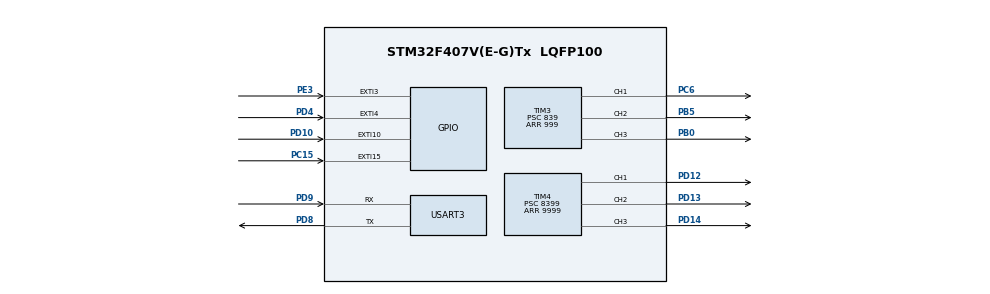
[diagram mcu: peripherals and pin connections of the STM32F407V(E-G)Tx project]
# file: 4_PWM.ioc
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Dma.Request0=USART3_RX
Dma.USART3_RX.0.Direction=DMA_PERIPH_TO_MEMORY
Dma.USART3_RX.0.FIFOMode=DMA_FIFOMODE_DISABLE
Dma.USART3_RX.0.Instance=DMA1_Stream1
Dma.USART3_RX.0.MemDataAlignment=DMA_MDATAALIGN_BYTE
Dma.USART3_RX.0.MemInc=DMA_MINC_ENABLE
Dma.USART3_RX.0.Mode=DMA_NORMAL
Dma.USART3_RX.0.PeriphDataAlignment=DMA_PDATAALIGN_BYTE
Dma.USART3_RX.0.PeriphInc=DMA_PINC_DISABLE
Dma.USART3_RX.0.Priority=DMA_PRIORITY_LOW
Mcu.Family=STM32F4
Mcu.Name=STM32F407V(E-G)Tx
Mcu.Package=LQFP100
NVIC.DMA1_Stream1_IRQn=true\:0\:0\:false\:false\:true\:false\:true\:true
NVIC.EXTI15_10_IRQn=true\:0\:0\:false\:false\:true\:true\:true\:true
NVIC.EXTI3_IRQn=true\:0\:0\:false\:false\:true\:true\:true\:true
NVIC.EXTI4_IRQn=true\:0\:0\:false\:false\:true\:true\:true\:true
NVIC.PriorityGroup=NVIC_PRIORITYGROUP_4
NVIC.TIM2_IRQn=true\:0\:0\:false\:false\:true\:true\:true\:true
NVIC.TIM3_IRQn=true\:0\:0\:false\:false\:true\:true\:true\:true
NVIC.TIM4_IRQn=true\:0\:0\:false\:false\:true\:true\:true\:true
NVIC.TIM7_IRQn=true\:0\:0\:false\:false\:true\:true\:true\:true
NVIC.USART3_IRQn=true\:0\:0\:false\:false\:true\:true\:true\:true
PB0.Signal=S_TIM3_CH3
PB5.Signal=S_TIM3_CH2
PC15-OSC32_OUT.Signal=GPXTI15
PC6.Signal=S_TIM3_CH1
PD10.Signal=GPXTI10
PD12.Signal=S_TIM4_CH1
PD13.Signal=S_TIM4_CH2
PD14.Signal=S_TIM4_CH3
PD4.Signal=GPXTI4
PD8.Mode=Asynchronous
PD8.Signal=USART3_TX
PD9.Mode=Asynchronous
PD9.Signal=USART3_RX
PE3.Signal=GPXTI3
PH0-OSC_IN.Mode=HSE-External-Oscillator
PH0-OSC_IN.Signal=RCC_OSC_IN
PH1-OSC_OUT.Mode=HSE-External-Oscillator
PH1-OSC_OUT.Signal=RCC_OSC_OUT
ProjectManager.HeapSize=0x200
ProjectManager.StackSize=0x400
ProjectManager.TargetToolchain=CMake
RCC.48MHZClocksFreq_Value=84000000
RCC.AHBFreq_Value=168000000
RCC.APB1CLKDivider=RCC_HCLK_DIV4
RCC.APB1Freq_Value=42000000
RCC.APB1TimFreq_Value=84000000
RCC.APB2CLKDivider=RCC_HCLK_DIV2
RCC.APB2Freq_Value=84000000
RCC.APB2TimFreq_Value=168000000
RCC.CortexFreq_Value=168000000
RCC.HCLKFreq_Value=168000000
RCC.HSE_VALUE=8000000
RCC.HSI_VALUE=16000000
RCC.LSE_VALUE=32768
RCC.PLLM=4
RCC.PLLN=168
RCC.PLLSourceVirtual=RCC_PLLSOURCE_HSE
RCC.SYSCLKFreq_VALUE=168000000
RCC.SYSCLKSource=RCC_SYSCLKSOURCE_PLLCLK
RCC.VCOOutputFreq_Value=336000000
SH.S_TIM3_CH1.0=TIM3_CH1,PWM Generation1 CH1
SH.S_TIM3_CH2.0=TIM3_CH2,PWM Generation2 CH2
SH.S_TIM3_CH3.0=TIM3_CH3,PWM Generation3 CH3
SH.S_TIM4_CH1.0=TIM4_CH1,Output Compare1 CH1
SH.S_TIM4_CH2.0=TIM4_CH2,Output Compare2 CH2
SH.S_TIM4_CH3.0=TIM4_CH3,Output Compare3 CH3
TIM2.Period=83999
TIM3.Channel-PWM\ Generation1\ CH1=TIM_CHANNEL_1
TIM3.Channel-PWM\ Generation2\ CH2=TIM_CHANNEL_2
TIM3.Channel-PWM\ Generation3\ CH3=TIM_CHANNEL_3
TIM3.Period=999
TIM3.Prescaler=839
TIM4.Channel-Output\ Compare1\ CH1=TIM_CHANNEL_1
TIM4.Channel-Output\ Compare2\ CH2=TIM_CHANNEL_2
TIM4.Channel-Output\ Compare3\ CH3=TIM_CHANNEL_3
TIM4.OCMode_1=TIM_OCMODE_TOGGLE
TIM4.OCMode_2=TIM_OCMODE_TOGGLE
TIM4.OCMode_3=TIM_OCMODE_TOGGLE
TIM4.Period=9999
TIM4.Prescaler=8399
TIM4.Pulse-Output\ Compare1\ CH1=9999
TIM4.Pulse-Output\ Compare2\ CH2=6666
TIM4.Pulse-Output\ Compare3\ CH3=3333
TIM7.AutoReloadPreload=TIM_AUTORELOAD_PRELOAD_DISABLE
TIM7.Period=9999
TIM7.Prescaler=839
USART3.VirtualMode=VM_ASYNC
VP_TIM2_VS_ClockSourceINT.Mode=Internal
VP_TIM3_VS_ClockSourceINT.Mode=Internal
VP_TIM4_VS_ClockSourceINT.Mode=Internal
VP_TIM7_VS_ClockSourceINT.Mode=Enable_Timer
board=custom

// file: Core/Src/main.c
/* USER CODE BEGIN Header */
/**
 ******************************************************************************
 * @file           : main.c
 * @brief          : Main program body
 ******************************************************************************
 * @attention
 *
 * Copyright (c) 2024 STMicroelectronics.
 * All rights reserved.
 *
 * This software is licensed under terms that can be found in the LICENSE file
 * in the root directory of this software component.
 * If no LICENSE file comes with this software, it is provided AS-IS.
 *
 ******************************************************************************
 */
/* USER CODE END Header */
#include "main.h"

/* USER CODE BEGIN Includes */
#include <stdio.h>
/* USER CODE END Includes */

/* USER CODE BEGIN PV */
uint8_t tim3_update = 0;
uint8_t tim4_update = 0;
/* USER CODE END PV */

void SystemClock_Config(void);
static void MX_GPIO_Init(void);
static void MX_DMA_Init(void);
static void MX_USART3_UART_Init(void);
static void MX_TIM7_Init(void);
static void MX_TIM2_Init(void);
static void MX_TIM4_Init(void);
static void MX_TIM3_Init(void);
/* USER CODE BEGIN PFP */
int __io_putchar(int ch) {
  while (!LL_USART_IsActiveFlag_TXE(USART3));
  LL_USART_TransmitData8(USART3, ch);
  return ch;
}
/* USER CODE END PFP */

int main(void) {

  /* MCU Configuration--------------------------------------------------------*/

  /* Reset of all peripherals, Initializes the Flash interface and the Systick.
   */
  LL_APB2_GRP1_EnableClock(LL_APB2_GRP1_PERIPH_SYSCFG);
  LL_APB1_GRP1_EnableClock(LL_APB1_GRP1_PERIPH_PWR);

  /* System interrupt init*/
  NVIC_SetPriorityGrouping(NVIC_PRIORITYGROUP_4);

  /* SysTick_IRQn interrupt configuration */
  NVIC_SetPriority(SysTick_IRQn,
                   NVIC_EncodePriority(NVIC_GetPriorityGrouping(), 15, 0));

  /* Configure the system clock */
  SystemClock_Config();

  /* Initialize all configured peripherals */
  MX_GPIO_Init();
  MX_DMA_Init();
  MX_USART3_UART_Init();
  MX_TIM7_Init();
  MX_TIM2_Init();
  MX_TIM4_Init();
  MX_TIM3_Init();
  /* USER CODE BEGIN 2 */
  //= Output Compare code
  LL_TIM_CC_EnableChannel(TIM4, LL_TIM_CHANNEL_CH1);
  LL_TIM_CC_EnableChannel(TIM4, LL_TIM_CHANNEL_CH2);
  LL_TIM_CC_EnableChannel(TIM4, LL_TIM_CHANNEL_CH3);

  LL_TIM_EnableIT_UPDATE(TIM4);
  LL_TIM_EnableCounter(TIM4);

  //= PWM code
  LL_TIM_CC_EnableChannel(TIM3, LL_TIM_CHANNEL_CH1);
  LL_TIM_CC_EnableChannel(TIM3, LL_TIM_CHANNEL_CH2);
  LL_TIM_CC_EnableChannel(TIM3, LL_TIM_CHANNEL_CH3);

  LL_TIM_EnableIT_UPDATE(TIM3);
  LL_TIM_EnableCounter(TIM3);

  uint8_t duty_up_flag = 1;
  //= current TIM3 (ch1~3) compare value = 0
  uint16_t duty = LL_TIM_OC_GetCompareCH1(TIM3);
  //= current TIM3 autoreload value = 839
  uint16_t autoreload = LL_TIM_GetAutoReload(TIM3);
  /* USER CODE END 2 */

  /* Infinite loop */
  /* USER CODE BEGIN WHILE */
  while (1) {
    //= Output Compare code
    if (tim4_update) {
      printf("TIM4 Update\r\n");

      tim4_update = 0;
    }

    //= PWM code
    if (tim3_update) {
      printf("TIM3\r\n");

      if (duty_up_flag) {
        duty += 10;

        LL_TIM_OC_SetCompareCH1(TIM3, duty);
        LL_TIM_OC_SetCompareCH2(TIM3, duty);
        LL_TIM_OC_SetCompareCH3(TIM3, duty);

        if (duty > autoreload) {
          duty_up_flag = 0;
        }
      } else {
        duty -= 10;

        LL_TIM_OC_SetCompareCH1(TIM3, duty);
        LL_TIM_OC_SetCompareCH2(TIM3, duty);
        LL_TIM_OC_SetCompareCH3(TIM3, duty);

        if (duty < 1) {
          duty_up_flag = 1;
        }
      }

      tim3_update = 0;
    }

    /* USER CODE END WHILE */

  }
}

void SystemClock_Config(void) {
  LL_FLASH_SetLatency(LL_FLASH_LATENCY_5);
  while (LL_FLASH_GetLatency() != LL_FLASH_LATENCY_5) {
  }
  LL_PWR_SetRegulVoltageScaling(LL_PWR_REGU_VOLTAGE_SCALE1);
  LL_RCC_HSE_Enable();

  /* Wait till HSE is ready */
  while (LL_RCC_HSE_IsReady() != 1) {
  }
  LL_RCC_PLL_ConfigDomain_SYS(LL_RCC_PLLSOURCE_HSE, LL_RCC_PLLM_DIV_4, 168,
                              LL_RCC_PLLP_DIV_2);
  LL_RCC_PLL_Enable();

  /* Wait till PLL is ready */
  while (LL_RCC_PLL_IsReady() != 1) {
  }
  while (LL_PWR_IsActiveFlag_VOS() == 0) {
  }
  LL_RCC_SetAHBPrescaler(LL_RCC_SYSCLK_DIV_1);
  LL_RCC_SetAPB1Prescaler(LL_RCC_APB1_DIV_4);
  LL_RCC_SetAPB2Prescaler(LL_RCC_APB2_DIV_2);
  LL_RCC_SetSysClkSource(LL_RCC_SYS_CLKSOURCE_PLL);

  /* Wait till System clock is ready */
  while (LL_RCC_GetSysClkSource() != LL_RCC_SYS_CLKSOURCE_STATUS_PLL) {
  }
  LL_Init1msTick(168000000);
  LL_SetSystemCoreClock(168000000);
}

static void MX_TIM2_Init(void) {

  LL_TIM_InitTypeDef TIM_InitStruct = {0};

  /* Peripheral clock enable */
  LL_APB1_GRP1_EnableClock(LL_APB1_GRP1_PERIPH_TIM2);

  /* TIM2 interrupt Init */
  NVIC_SetPriority(TIM2_IRQn,
                   NVIC_EncodePriority(NVIC_GetPriorityGrouping(), 0, 0));
  NVIC_EnableIRQ(TIM2_IRQn);

  TIM_InitStruct.Prescaler = 0;
  TIM_InitStruct.CounterMode = LL_TIM_COUNTERMODE_UP;
  TIM_InitStruct.Autoreload = 83999;
  TIM_InitStruct.ClockDivision = LL_TIM_CLOCKDIVISION_DIV1;
  LL_TIM_Init(TIM2, &TIM_InitStruct);
  LL_TIM_DisableARRPreload(TIM2);
  LL_TIM_SetClockSource(TIM2, LL_TIM_CLOCKSOURCE_INTERNAL);
  LL_TIM_SetTriggerOutput(TIM2, LL_TIM_TRGO_RESET);
  LL_TIM_DisableMasterSlaveMode(TIM2);
}

static void MX_TIM3_Init(void) {

  LL_TIM_InitTypeDef TIM_InitStruct = {0};
  LL_TIM_OC_InitTypeDef TIM_OC_InitStruct = {0};

  LL_GPIO_InitTypeDef GPIO_InitStruct = {0};

  /* Peripheral clock enable */
  LL_APB1_GRP1_EnableClock(LL_APB1_GRP1_PERIPH_TIM3);

  /* TIM3 interrupt Init */
  NVIC_SetPriority(TIM3_IRQn,
                   NVIC_EncodePriority(NVIC_GetPriorityGrouping(), 0, 0));
  NVIC_EnableIRQ(TIM3_IRQn);

  TIM_InitStruct.Prescaler = 839;
  TIM_InitStruct.CounterMode = LL_TIM_COUNTERMODE_UP;
  TIM_InitStruct.Autoreload = 999;
  TIM_InitStruct.ClockDivision = LL_TIM_CLOCKDIVISION_DIV1;
  LL_TIM_Init(TIM3, &TIM_InitStruct);
  LL_TIM_DisableARRPreload(TIM3);
  LL_TIM_SetClockSource(TIM3, LL_TIM_CLOCKSOURCE_INTERNAL);
  LL_TIM_OC_EnablePreload(TIM3, LL_TIM_CHANNEL_CH1);
  TIM_OC_InitStruct.OCMode = LL_TIM_OCMODE_PWM1;
  TIM_OC_InitStruct.OCState = LL_TIM_OCSTATE_DISABLE;
  TIM_OC_InitStruct.OCNState = LL_TIM_OCSTATE_DISABLE;
  TIM_OC_InitStruct.CompareValue = 0;
  TIM_OC_InitStruct.OCPolarity = LL_TIM_OCPOLARITY_HIGH;
  LL_TIM_OC_Init(TIM3, LL_TIM_CHANNEL_CH1, &TIM_OC_InitStruct);
  LL_TIM_OC_DisableFast(TIM3, LL_TIM_CHANNEL_CH1);
  LL_TIM_OC_EnablePreload(TIM3, LL_TIM_CHANNEL_CH2);
  LL_TIM_OC_Init(TIM3, LL_TIM_CHANNEL_CH2, &TIM_OC_InitStruct);
  LL_TIM_OC_DisableFast(TIM3, LL_TIM_CHANNEL_CH2);
  LL_TIM_OC_EnablePreload(TIM3, LL_TIM_CHANNEL_CH3);
  LL_TIM_OC_Init(TIM3, LL_TIM_CHANNEL_CH3, &TIM_OC_InitStruct);
  LL_TIM_OC_DisableFast(TIM3, LL_TIM_CHANNEL_CH3);
  LL_TIM_SetTriggerOutput(TIM3, LL_TIM_TRGO_RESET);
  LL_TIM_DisableMasterSlaveMode(TIM3);
  LL_AHB1_GRP1_EnableClock(LL_AHB1_GRP1_PERIPH_GPIOB);
  LL_AHB1_GRP1_EnableClock(LL_AHB1_GRP1_PERIPH_GPIOC);
  /**TIM3 GPIO Configuration
  PB0   ------> TIM3_CH3
  PC6   ------> TIM3_CH1
  PB5   ------> TIM3_CH2
  */
  GPIO_InitStruct.Pin = LL_GPIO_PIN_0 | LL_GPIO_PIN_5;
  GPIO_InitStruct.Mode = LL_GPIO_MODE_ALTERNATE;
  GPIO_InitStruct.Speed = LL_GPIO_SPEED_FREQ_LOW;
  GPIO_InitStruct.OutputType = LL_GPIO_OUTPUT_PUSHPULL;
  GPIO_InitStruct.Pull = LL_GPIO_PULL_NO;
  GPIO_InitStruct.Alternate = LL_GPIO_AF_2;
  LL_GPIO_Init(GPIOB, &GPIO_InitStruct);

  GPIO_InitStruct.Pin = LL_GPIO_PIN_6;
  GPIO_InitStruct.Mode = LL_GPIO_MODE_ALTERNATE;
  GPIO_InitStruct.Speed = LL_GPIO_SPEED_FREQ_LOW;
  GPIO_InitStruct.OutputType = LL_GPIO_OUTPUT_PUSHPULL;
  GPIO_InitStruct.Pull = LL_GPIO_PULL_NO;
  GPIO_InitStruct.Alternate = LL_GPIO_AF_2;
  LL_GPIO_Init(GPIOC, &GPIO_InitStruct);
}

static void MX_TIM4_Init(void) {

  LL_TIM_InitTypeDef TIM_InitStruct = {0};
  LL_TIM_OC_InitTypeDef TIM_OC_InitStruct = {0};

  LL_GPIO_InitTypeDef GPIO_InitStruct = {0};

  /* Peripheral clock enable */
  LL_APB1_GRP1_EnableClock(LL_APB1_GRP1_PERIPH_TIM4);

  /* TIM4 interrupt Init */
  NVIC_SetPriority(TIM4_IRQn,
                   NVIC_EncodePriority(NVIC_GetPriorityGrouping(), 0, 0));
  NVIC_EnableIRQ(TIM4_IRQn);

  TIM_InitStruct.Prescaler = 8399;
  TIM_InitStruct.CounterMode = LL_TIM_COUNTERMODE_UP;
  TIM_InitStruct.Autoreload = 9999;
  TIM_InitStruct.ClockDivision = LL_TIM_CLOCKDIVISION_DIV1;
  LL_TIM_Init(TIM4, &TIM_InitStruct);
  LL_TIM_DisableARRPreload(TIM4);
  LL_TIM_SetClockSource(TIM4, LL_TIM_CLOCKSOURCE_INTERNAL);
  TIM_OC_InitStruct.OCMode = LL_TIM_OCMODE_TOGGLE;
  TIM_OC_InitStruct.OCState = LL_TIM_OCSTATE_DISABLE;
  TIM_OC_InitStruct.OCNState = LL_TIM_OCSTATE_DISABLE;
  TIM_OC_InitStruct.CompareValue = 9999;
  TIM_OC_InitStruct.OCPolarity = LL_TIM_OCPOLARITY_HIGH;
  LL_TIM_OC_Init(TIM4, LL_TIM_CHANNEL_CH1, &TIM_OC_InitStruct);
  LL_TIM_OC_DisableFast(TIM4, LL_TIM_CHANNEL_CH1);
  TIM_OC_InitStruct.CompareValue = 6666;
  LL_TIM_OC_Init(TIM4, LL_TIM_CHANNEL_CH2, &TIM_OC_InitStruct);
  LL_TIM_OC_DisableFast(TIM4, LL_TIM_CHANNEL_CH2);
  TIM_OC_InitStruct.CompareValue = 3333;
  LL_TIM_OC_Init(TIM4, LL_TIM_CHANNEL_CH3, &TIM_OC_InitStruct);
  LL_TIM_OC_DisableFast(TIM4, LL_TIM_CHANNEL_CH3);
  LL_TIM_SetTriggerOutput(TIM4, LL_TIM_TRGO_RESET);
  LL_TIM_DisableMasterSlaveMode(TIM4);
  LL_AHB1_GRP1_EnableClock(LL_AHB1_GRP1_PERIPH_GPIOD);
  /**TIM4 GPIO Configuration
  PD12   ------> TIM4_CH1
  PD13   ------> TIM4_CH2
  PD14   ------> TIM4_CH3
  */
  GPIO_InitStruct.Pin = LL_GPIO_PIN_12 | LL_GPIO_PIN_13 | LL_GPIO_PIN_14;
  GPIO_InitStruct.Mode = LL_GPIO_MODE_ALTERNATE;
  GPIO_InitStruct.Speed = LL_GPIO_SPEED_FREQ_LOW;
  GPIO_InitStruct.OutputType = LL_GPIO_OUTPUT_PUSHPULL;
  GPIO_InitStruct.Pull = LL_GPIO_PULL_NO;
  GPIO_InitStruct.Alternate = LL_GPIO_AF_2;
  LL_GPIO_Init(GPIOD, &GPIO_InitStruct);
}

static void MX_TIM7_Init(void) {

  LL_TIM_InitTypeDef TIM_InitStruct = {0};

  /* Peripheral clock enable */
  LL_APB1_GRP1_EnableClock(LL_APB1_GRP1_PERIPH_TIM7);

  /* TIM7 interrupt Init */
  NVIC_SetPriority(TIM7_IRQn,
                   NVIC_EncodePriority(NVIC_GetPriorityGrouping(), 0, 0));
  NVIC_EnableIRQ(TIM7_IRQn);

  TIM_InitStruct.Prescaler = 839;
  TIM_InitStruct.CounterMode = LL_TIM_COUNTERMODE_UP;
  TIM_InitStruct.Autoreload = 9999;
  LL_TIM_Init(TIM7, &TIM_InitStruct);
  LL_TIM_DisableARRPreload(TIM7);
  LL_TIM_SetTriggerOutput(TIM7, LL_TIM_TRGO_RESET);
  LL_TIM_DisableMasterSlaveMode(TIM7);
}

static void MX_USART3_UART_Init(void) {

  LL_USART_InitTypeDef USART_InitStruct = {0};

  LL_GPIO_InitTypeDef GPIO_InitStruct = {0};

  /* Peripheral clock enable */
  LL_APB1_GRP1_EnableClock(LL_APB1_GRP1_PERIPH_USART3);

  LL_AHB1_GRP1_EnableClock(LL_AHB1_GRP1_PERIPH_GPIOD);
  /**USART3 GPIO Configuration
  PD8   ------> USART3_TX
  PD9   ------> USART3_RX
  */
  GPIO_InitStruct.Pin = LL_GPIO_PIN_8 | LL_GPIO_PIN_9;
  GPIO_InitStruct.Mode = LL_GPIO_MODE_ALTERNATE;
  GPIO_InitStruct.Speed = LL_GPIO_SPEED_FREQ_VERY_HIGH;
  GPIO_InitStruct.OutputType = LL_GPIO_OUTPUT_PUSHPULL;
  GPIO_InitStruct.Pull = LL_GPIO_PULL_NO;
  GPIO_InitStruct.Alternate = LL_GPIO_AF_7;
  LL_GPIO_Init(GPIOD, &GPIO_InitStruct);

  /* USART3 DMA Init */

  /* USART3_RX Init */
  LL_DMA_SetChannelSelection(DMA1, LL_DMA_STREAM_1, LL_DMA_CHANNEL_4);

  LL_DMA_SetDataTransferDirection(DMA1, LL_DMA_STREAM_1,
                                  LL_DMA_DIRECTION_PERIPH_TO_MEMORY);

  LL_DMA_SetStreamPriorityLevel(DMA1, LL_DMA_STREAM_1, LL_DMA_PRIORITY_LOW);

  LL_DMA_SetMode(DMA1, LL_DMA_STREAM_1, LL_DMA_MODE_NORMAL);

  LL_DMA_SetPeriphIncMode(DMA1, LL_DMA_STREAM_1, LL_DMA_PERIPH_NOINCREMENT);

  LL_DMA_SetMemoryIncMode(DMA1, LL_DMA_STREAM_1, LL_DMA_MEMORY_INCREMENT);

  LL_DMA_SetPeriphSize(DMA1, LL_DMA_STREAM_1, LL_DMA_PDATAALIGN_BYTE);

  LL_DMA_SetMemorySize(DMA1, LL_DMA_STREAM_1, LL_DMA_MDATAALIGN_BYTE);

  LL_DMA_DisableFifoMode(DMA1, LL_DMA_STREAM_1);

  /* USART3 interrupt Init */
  NVIC_SetPriority(USART3_IRQn,
                   NVIC_EncodePriority(NVIC_GetPriorityGrouping(), 0, 0));
  NVIC_EnableIRQ(USART3_IRQn);

  USART_InitStruct.BaudRate = 115200;
  USART_InitStruct.DataWidth = LL_USART_DATAWIDTH_8B;
  USART_InitStruct.StopBits = LL_USART_STOPBITS_1;
  USART_InitStruct.Parity = LL_USART_PARITY_NONE;
  USART_InitStruct.TransferDirection = LL_USART_DIRECTION_TX_RX;
  USART_InitStruct.HardwareFlowControl = LL_USART_HWCONTROL_NONE;
  USART_InitStruct.OverSampling = LL_USART_OVERSAMPLING_16;
  LL_USART_Init(USART3, &USART_InitStruct);
  LL_USART_ConfigAsyncMode(USART3);
  LL_USART_Enable(USART3);
}

static void MX_DMA_Init(void) {
  /* Init with LL driver */
  /* DMA controller clock enable */
  LL_AHB1_GRP1_EnableClock(LL_AHB1_GRP1_PERIPH_DMA1);

  /* DMA interrupt init */
  /* DMA1_Stream1_IRQn interrupt configuration */
  NVIC_SetPriority(DMA1_Stream1_IRQn,
                   NVIC_EncodePriority(NVIC_GetPriorityGrouping(), 0, 0));
  NVIC_EnableIRQ(DMA1_Stream1_IRQn);
}

static void MX_GPIO_Init(void) {
  LL_EXTI_InitTypeDef EXTI_InitStruct = {0};

  /* GPIO Ports Clock Enable */
  LL_AHB1_GRP1_EnableClock(LL_AHB1_GRP1_PERIPH_GPIOE);
  LL_AHB1_GRP1_EnableClock(LL_AHB1_GRP1_PERIPH_GPIOC);
  LL_AHB1_GRP1_EnableClock(LL_AHB1_GRP1_PERIPH_GPIOH);
  LL_AHB1_GRP1_EnableClock(LL_AHB1_GRP1_PERIPH_GPIOB);
  LL_AHB1_GRP1_EnableClock(LL_AHB1_GRP1_PERIPH_GPIOD);

  /**/
  LL_SYSCFG_SetEXTISource(LL_SYSCFG_EXTI_PORTE, LL_SYSCFG_EXTI_LINE3);

  /**/
  LL_SYSCFG_SetEXTISource(LL_SYSCFG_EXTI_PORTC, LL_SYSCFG_EXTI_LINE15);

  /**/
  LL_SYSCFG_SetEXTISource(LL_SYSCFG_EXTI_PORTD, LL_SYSCFG_EXTI_LINE10);

  /**/
  LL_SYSCFG_SetEXTISource(LL_SYSCFG_EXTI_PORTD, LL_SYSCFG_EXTI_LINE4);

  /**/
  EXTI_InitStruct.Line_0_31 = LL_EXTI_LINE_3;
  EXTI_InitStruct.LineCommand = ENABLE;
  EXTI_InitStruct.Mode = LL_EXTI_MODE_IT;
  EXTI_InitStruct.Trigger = LL_EXTI_TRIGGER_RISING;
  LL_EXTI_Init(&EXTI_InitStruct);

  /**/
  EXTI_InitStruct.Line_0_31 = LL_EXTI_LINE_15;
  EXTI_InitStruct.LineCommand = ENABLE;
  EXTI_InitStruct.Mode = LL_EXTI_MODE_IT;
  EXTI_InitStruct.Trigger = LL_EXTI_TRIGGER_RISING;
  LL_EXTI_Init(&EXTI_InitStruct);

  /**/
  EXTI_InitStruct.Line_0_31 = LL_EXTI_LINE_10;
  EXTI_InitStruct.LineCommand = ENABLE;
  EXTI_InitStruct.Mode = LL_EXTI_MODE_IT;
  EXTI_InitStruct.Trigger = LL_EXTI_TRIGGER_RISING;
  LL_EXTI_Init(&EXTI_InitStruct);

  /**/
  EXTI_InitStruct.Line_0_31 = LL_EXTI_LINE_4;
  EXTI_InitStruct.LineCommand = ENABLE;
  EXTI_InitStruct.Mode = LL_EXTI_MODE_IT;
  EXTI_InitStruct.Trigger = LL_EXTI_TRIGGER_RISING;
  LL_EXTI_Init(&EXTI_InitStruct);

  /**/
  LL_GPIO_SetPinPull(GPIOE, LL_GPIO_PIN_3, LL_GPIO_PULL_NO);

  /**/
  LL_GPIO_SetPinPull(GPIOC, LL_GPIO_PIN_15, LL_GPIO_PULL_NO);

  /**/
  LL_GPIO_SetPinPull(GPIOD, LL_GPIO_PIN_10, LL_GPIO_PULL_NO);

  /**/
  LL_GPIO_SetPinPull(GPIOD, LL_GPIO_PIN_4, LL_GPIO_PULL_NO);

  /**/
  LL_GPIO_SetPinMode(GPIOE, LL_GPIO_PIN_3, LL_GPIO_MODE_INPUT);

  /**/
  LL_GPIO_SetPinMode(GPIOC, LL_GPIO_PIN_15, LL_GPIO_MODE_INPUT);

  /**/
  LL_GPIO_SetPinMode(GPIOD, LL_GPIO_PIN_10, LL_GPIO_MODE_INPUT);

  /**/
  LL_GPIO_SetPinMode(GPIOD, LL_GPIO_PIN_4, LL_GPIO_MODE_INPUT);

  /* EXTI interrupt init*/
  NVIC_SetPriority(EXTI3_IRQn,
                   NVIC_EncodePriority(NVIC_GetPriorityGrouping(), 0, 0));
  NVIC_EnableIRQ(EXTI3_IRQn);
  NVIC_SetPriority(EXTI4_IRQn,
                   NVIC_EncodePriority(NVIC_GetPriorityGrouping(), 0, 0));
  NVIC_EnableIRQ(EXTI4_IRQn);
  NVIC_SetPriority(EXTI15_10_IRQn,
                   NVIC_EncodePriority(NVIC_GetPriorityGrouping(), 0, 0));
  NVIC_EnableIRQ(EXTI15_10_IRQn);

}

void Error_Handler(void) {
  __disable_irq();
  while (1) {
  }
}

#ifdef USE_FULL_ASSERT
/**
 * @brief  Reports the name of the source file and the source line number
 *         where the assert_param error has occurred.
 * @param  file: pointer to the source file name
 * @param  line: assert_param error line source number
 * @retval None
 */
void assert_failed(uint8_t *file, uint32_t line) {
  /* USER CODE BEGIN 6 */
  /* User can add his own implementation to report the file name and line
     number, ex: printf("Wrong parameters value: file %s on line %d\r\n", file,
     line) */
  /* USER CODE END 6 */
}
#endif /* USE_FULL_ASSERT */
